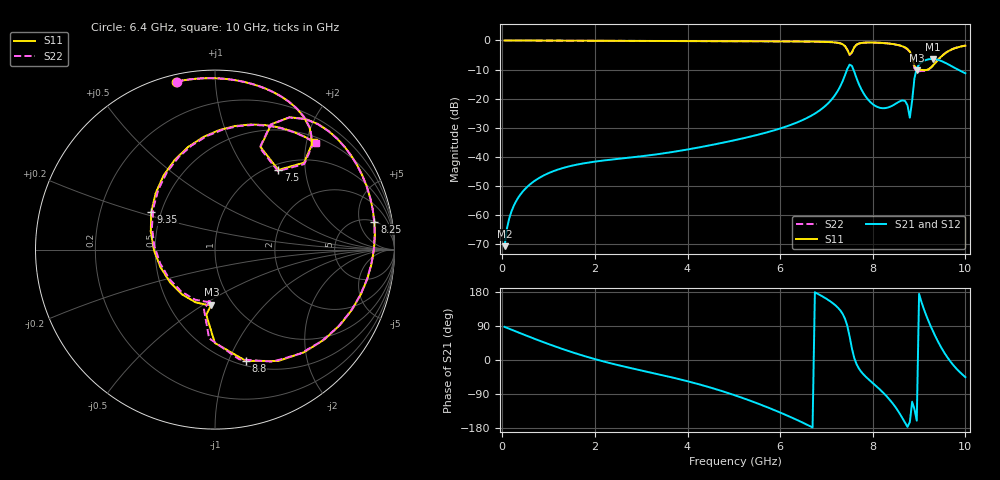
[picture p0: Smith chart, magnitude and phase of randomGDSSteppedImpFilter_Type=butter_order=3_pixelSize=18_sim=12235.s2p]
! freq	dB(S11)	phase(S11)	dB(S12)	phase(S12)
!  dB(S21)	phase(S21)	dB(S22)	phase(S22)
!S-par simulation data
#  GHz  S  DB  R 50
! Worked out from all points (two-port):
!   200 points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, 50 MHz to 10 GHz, reference 50 ohm
!   highest |S21| = -6.37 dB at 9.3 GHz (marker M1); lowest = -70.6 dB at 50 MHz (marker M2)
!   |S21| within 3 dB of the highest: 7.464 GHz to 7.566 GHz (101.6 MHz wide, 1.35 % of centre); 8.959 GHz to 9.765 GHz (806.1 MHz wide, 8.61 % of centre)
!   lowest |S11| = -10.3 dB at 8.95 GHz (marker M3), VSWR 1.89, Z = 39.9 - j27 ohm
!   |S11| at or under -10 dB: 8.942 GHz to 9.185 GHz (243.1 MHz wide, 2.68 % of centre)
!   |S22| runs from -11.0 to 0.0 dB; largest |S21 - S12| = 0
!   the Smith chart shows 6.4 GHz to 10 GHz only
!   S11 on the Smith chart (normalised r, x): 6.4 GHz: 0.03, +0.79; 7.5 GHz: 1.10, +1.44; 8.25 GHz: 5.09, +8.45; 8.8 GHz: 0.55, -1.16; 9.35 GHz: 0.44, +0.22; 10 GHz: 0.60, +2.13
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0.05  -0.00 -2.5  -70.62 87.4  -70.62 87.4  -0.00 -2.5
0.2  -0.01 -10.0  -58.59 79.9  -58.59 79.9  -0.01 -10.0
0.5  -0.03 -24.7  -50.85 65.3  -50.85 65.3  -0.03 -24.7
1.75  -0.10 -82.5  -42.21 11.2  -42.21 11.2  -0.10 -82.5
3.4  -0.16 -147.1  -38.94 -38.5  -38.94 -38.5  -0.16 -147.1
5.05  -0.24 154.5  -34.13 -94.3  -34.13 -94.3  -0.24 154.5
6.4  -0.35 103.0  -27.92 -160.2  -27.92 -160.2  -0.35 102.9
6.7  -0.40 89.9  -25.58 -178.1  -25.58 -178.1  -0.40 89.8
7.35  -1.32 52.1  -13.95 121.6  -13.95 121.6  -1.33 51.8
7.5  -4.92 51.5  -8.30 62.1  -8.30 62.1  -5.03 51.2
7.55  -4.07 66.1  -8.75 30.2  -8.75 30.2  -4.15 66.3
7.7  -1.06 55.4  -14.98 -22.4  -14.98 -22.4  -1.07 55.4
8.25  -0.90 10.0  -23.25 -89.3  -23.25 -89.3  -0.91 9.5
8.35  -1.05 0.4  -22.91 -102.7  -22.91 -102.7  -1.07 -0.2
8.7  -2.41 -48.9  -20.81 -166.9  -20.81 -166.9  -2.51 -50.8
8.8  -3.83 -74.5  -26.51 -163.9  -26.51 -163.9  -4.07 -77.5
8.95  -10.25 -93.7  -9.62 -160.0  -9.62 -160.0  -11.00 -94.1
9.1  -10.18 -126.2  -7.02 135.4  -7.02 135.4  -10.46 -128.8
9.3  -8.59 164.3  -6.37 75.8  -6.37 75.8  -8.57 160.5
9.35  -7.71 149.6  -6.45 62.9  -6.45 62.9  -7.65 146.1
9.65  -3.53 88.1  -8.37 0.3  -8.37 0.3  -3.48 86.3
10  -1.78 47.5  -11.27 -45.2  -11.27 -45.2  -1.76 46.4
